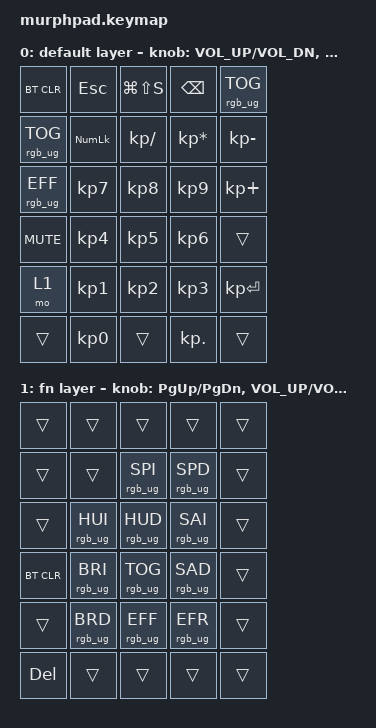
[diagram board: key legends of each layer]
/*
 * Copyright (c) 2021 Kyle McCreery
 *
 * SPDX-License-Identifier: MIT
 */

#include <behaviors.dtsi>
#include <dt-bindings/zmk/keys.h>
#include <dt-bindings/zmk/bt.h>
#include <dt-bindings/zmk/rgb.h>

#define TIMEOUT 300

/* Layer Names*/
#define DEFAULT 0
#define FN      1


&encoder_1 {
	status = "okay";
};

&encoder_2 {
	status = "okay";
};

/* Combo Definitions*/
/ {
    combos {
        compatible = "zmk,combos";
        combo_btclr {
            timeout-ms = <TIMEOUT>;
            key-positions = <1 6>;
            bindings = <&bt BT_CLR>;
        };
        combo_reset {
            timeout-ms = <TIMEOUT>;
            key-positions = <1 3>;
            bindings = <&reset>;
        };
        combo_bootloader {
            timeout-ms = <TIMEOUT>;
            key-positions = <1 2>;
            bindings = <&bootloader>;
        };
        combo_bt_nxt {
            timeout-ms = <TIMEOUT>;
            key-positions = <1 4>;
            bindings = <&bt BT_NXT>;
        };
    };

	sensors {
		compatible = "zmk,keymap-sensors";
		sensors = <&encoder_1 &encoder_2>;
	};


	keymap0: keymap {
		compatible = "zmk,keymap";

		default_layer {
		label = "default layer";
            bindings = <
                &bt BT_CLR       &kp ESC      &kp LG(LS(S))   &kp BSPC          &rgb_ug RGB_TOG   
                &rgb_ug RGB_TOG  &kp KP_NUM   &kp KP_DIVIDE   &kp KP_MULTIPLY   &kp KP_MINUS    
                &rgb_ug RGB_EFF  &kp KP_N7    &kp KP_N8       &kp KP_N9         &kp KP_PLUS   
                &kp C_MUTE       &kp KP_N4    &kp KP_N5       &kp KP_N6         &trans
                &mo 1            &kp KP_N1    &kp KP_N2       &kp KP_N3         &kp KP_ENTER
                &trans           &kp KP_N0    &trans          &kp KP_DOT        &trans
            >;
			sensor-bindings = <&inc_dec_kp C_VOL_UP C_VOL_DN &inc_dec_kp PG_UP PG_DN>;

        }; 

        fn_layer {
		label = "fn layer";
            bindings = <
                &trans      &trans              &trans            &trans             &trans  
                &trans      &trans              &rgb_ug RGB_SPI   &rgb_ug RGB_SPD    &trans     
                &trans      &rgb_ug RGB_HUI     &rgb_ug RGB_HUD   &rgb_ug RGB_SAI    &trans
                &bt BT_CLR  &rgb_ug RGB_BRI     &rgb_ug RGB_TOG   &rgb_ug RGB_SAD    &trans    
                &trans      &rgb_ug RGB_BRD     &rgb_ug RGB_EFF   &rgb_ug RGB_EFR    &trans
                &kp DEL     &trans              &trans            &trans             &trans           
            >;  
			sensor-bindings = <&inc_dec_kp PG_UP PG_DN &inc_dec_kp C_VOL_UP C_VOL_DN>;

        };
    };
};
